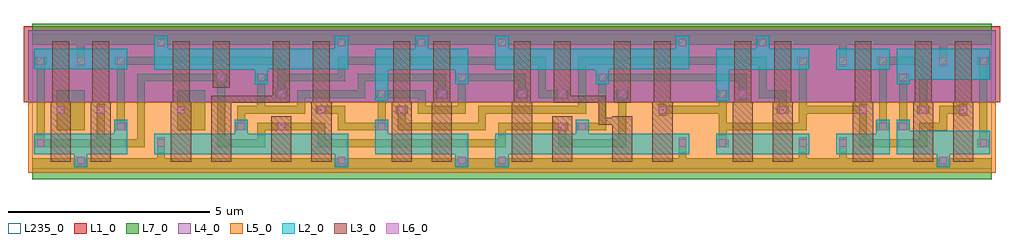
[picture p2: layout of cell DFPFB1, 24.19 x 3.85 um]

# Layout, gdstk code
import gdstk
lib = gdstk.Library(unit=1e-6, precision=1e-09)
def R(c, l, rs):  # rectangles x0, y0, x1, y1
    for r in rs: c.add(gdstk.rectangle(r[:2], r[2:], *l))
def A(c, l, x, y, w, h, nx, ny, dx, dy):  # array of equal rectangles
    R(c, l, [(x+i*dx, y+j*dy, x+i*dx+w, y+j*dy+h) for i in range(nx) for j in range(ny)])
def P(c, l, *ps):  # polygons
    for p in ps: c.add(gdstk.Polygon(p, *l))
L1_0 = (1, 0)
L2_0 = (2, 0)
L3_0 = (3, 0)
L4_0 = (4, 0)
L5_0 = (5, 0)
L6_0 = (6, 0)
L7_0 = (7, 0)
L235_0 = (235, 0)

dfpfb1 = lib.new_cell('DFPFB1')
R(dfpfb1, L1_0, [(-0.2,1.653,23.985,3.532)])
R(dfpfb1, L2_0, [(16.948,0.363,19.262,0.863), (19.93,2.449,21.25,2.969), (0.05,2.469,2.364,2.969)])
P(dfpfb1, L2_0, [(1.044,0.036),(1.044,0.363),(0.05,0.363),(0.05,0.863),(2.038,0.863),(2.038,1.209),(2.364,1.209),(2.364,0.363),(1.37,0.363),(1.37,0.036)],
  [(7.505,0.036),(7.505,0.363),(3.032,0.363),(3.032,0.863),(5.02,0.863),(5.02,1.209),(5.346,1.209),(5.346,0.863),(7.831,0.863),(7.831,0.036)],
  [(10.487,0.036),(10.487,0.363),(8.499,0.363),(8.499,1.209),(8.825,1.209),(8.825,0.863),(10.813,0.863),(10.813,0.036)],
  [(11.481,0.036),(11.481,0.863),(13.469,0.863),(13.469,1.209),(13.795,1.209),(13.795,0.863),(16.28,0.863),(16.28,0.363),(11.807,0.363),(11.807,0.036)],
  [(19.93,0.363),(19.93,0.863),(20.924,0.863),(20.924,1.209),(21.25,1.209),(21.25,0.363)],
  [(22.415,0.036),(22.415,0.363),(21.421,0.363),(21.421,1.209),(21.747,1.209),(21.747,0.943),(23.735,0.943),(23.735,0.363),(22.741,0.363),(22.741,0.036)],
  [(21.421,2.097),(21.421,2.969),(23.735,2.969),(23.735,2.209),(21.747,2.209),(21.747,2.097)],
  [(5.517,2.097),(5.517,2.449),(3.032,2.449),(3.032,3.296),(3.358,3.296),(3.358,2.969),(7.505,2.969),(7.505,3.296),(7.831,3.296),(7.831,2.469),(5.843,2.469),(5.843,2.097)],
  [(8.499,1.684),(8.499,2.969),(9.493,2.969),(9.493,3.296),(9.819,3.296),(9.819,2.969),(10.813,2.969),(10.813,2.097),(10.487,2.097),(10.487,2.449),(8.825,2.449),(8.825,1.684)],
  [(13.966,2.097),(13.966,2.449),(11.481,2.449),(11.481,3.296),(11.807,3.296),(11.807,2.969),(15.954,2.969),(15.954,3.296),(16.28,3.296),(16.28,2.469),(14.292,2.469),(14.292,2.097)],
  [(16.948,1.684),(16.948,2.969),(17.942,2.969),(17.942,3.296),(18.268,3.296),(18.268,2.969),(19.262,2.969),(19.262,2.449),(17.274,2.449),(17.274,1.684)])
R(dfpfb1, L3_0, [(5.927,0.177,6.427,1.296), (12.885,0.177,13.385,1.296), (14.416,1.637,14.836,3.155), (4.476,2.01,4.896,3.155)])
P(dfpfb1, L3_0, [(0.46,0.177),(0.46,1.653),(0.5,1.653),(0.5,3.155),(0.92,3.155),(0.92,1.653),(0.96,1.653),(0.96,0.177)],
  [(1.454,0.177),(1.454,1.653),(1.494,1.653),(1.494,3.155),(1.914,3.155),(1.914,1.653),(1.954,1.653),(1.954,0.177)],
  [(3.442,0.177),(3.442,1.653),(3.482,1.653),(3.482,3.155),(3.902,3.155),(3.902,1.653),(3.942,1.653),(3.942,0.177)],
  [(4.436,0.177),(4.436,1.809),(5.967,1.809),(5.967,3.155),(6.387,3.155),(6.387,1.629),(4.936,1.629),(4.936,0.177)],
  [(6.921,0.177),(6.921,1.653),(6.961,1.653),(6.961,3.155),(7.381,3.155),(7.381,1.653),(7.421,1.653),(7.421,0.177)],
  [(8.909,0.177),(8.909,1.653),(8.949,1.653),(8.949,3.155),(9.369,3.155),(9.369,1.653),(9.409,1.653),(9.409,0.177)],
  [(9.903,0.177),(9.903,1.653),(9.943,1.653),(9.943,3.155),(10.363,3.155),(10.363,1.653),(10.403,1.653),(10.403,0.177)],
  [(11.891,0.177),(11.891,1.653),(11.931,1.653),(11.931,3.155),(12.351,3.155),(12.351,1.653),(12.391,1.653),(12.391,0.177)],
  [(14.376,0.177),(14.376,1.084),(14.039,1.084),(14.039,1.629),(12.925,1.629),(12.925,3.155),(13.345,3.155),(13.345,1.809),(14.219,1.809),(14.219,1.264),(14.376,1.264),(14.376,1.296),(14.876,1.296),(14.876,0.177)],
  [(15.37,0.177),(15.37,1.653),(15.41,1.653),(15.41,3.155),(15.83,3.155),(15.83,1.653),(15.87,1.653),(15.87,0.177)],
  [(17.358,0.177),(17.358,1.653),(17.398,1.653),(17.398,3.155),(17.818,3.155),(17.818,1.653),(17.858,1.653),(17.858,0.177)],
  [(18.352,0.177),(18.352,1.653),(18.392,1.653),(18.392,3.155),(18.812,3.155),(18.812,1.653),(18.852,1.653),(18.852,0.177)],
  [(20.34,0.177),(20.34,1.653),(20.38,1.653),(20.38,3.155),(20.8,3.155),(20.8,1.653),(20.84,1.653),(20.84,0.177)],
  [(21.831,0.177),(21.831,1.653),(21.871,1.653),(21.871,3.155),(22.291,3.155),(22.291,1.653),(22.331,1.653),(22.331,0.177)],
  [(22.825,0.177),(22.825,1.653),(22.865,1.653),(22.865,3.155),(23.285,3.155),(23.285,1.653),(23.325,1.653),(23.325,0.177)])
R(dfpfb1, L4_0, [(-0.1,1.653,23.885,3.432)])
R(dfpfb1, L5_0, [(-0.1,-0.1,23.885,1.653)])
A(dfpfb1, L6_0, 0.12, 2.58, 0.186, 0.186, 3, 1, 0.994, 0)
A(dfpfb1, L6_0, 19.006, 2.58, 0.186, 0.186, 3, 1, 0.994, 0)
A(dfpfb1, L6_0, 7.575, 3.04, 0.186, 0.186, 3, 1, 1.988, 0)
R(dfpfb1, L6_0, [(1.114,0.106,1.3,0.292), (7.575,0.106,7.761,0.292), (10.557,0.106,10.743,0.292), (11.551,0.106,11.737,0.292), (22.485,0.106,22.671,0.292), (0.12,0.54,0.306,0.726), (3.102,0.54,3.288,0.726), (16.024,0.54,16.21,0.726), (17.018,0.54,17.204,0.726), (19.006,0.54,19.192,0.726), (20,0.54,20.186,0.726), (23.479,0.54,23.665,0.726), (2.108,0.953,2.294,1.139), (5.09,0.953,5.276,1.139), (6.084,0.953,6.27,1.139), (8.569,0.953,8.755,1.139), (13.042,0.953,13.228,1.139), (13.539,0.953,13.725,1.139), (20.994,0.953,21.18,1.139), (21.491,0.953,21.677,1.139), (0.617,1.366,0.803,1.552), (1.611,1.366,1.797,1.552), (3.599,1.366,3.785,1.552), (7.078,1.366,7.264,1.552), (9.066,1.366,9.252,1.552), (15.527,1.366,15.713,1.552), (18.509,1.366,18.695,1.552), (20.497,1.366,20.683,1.552), (21.988,1.366,22.174,1.552), (22.982,1.366,23.168,1.552), (6.084,1.754,6.27,1.94), (8.569,1.754,8.755,1.94), (10.06,1.754,10.246,1.94), (12.048,1.754,12.234,1.94), (13.042,1.754,13.228,1.94), (14.533,1.754,14.719,1.94), (17.018,1.754,17.204,1.94), (17.515,1.754,17.701,1.94), (4.593,2.167,4.779,2.353), (5.587,2.167,5.773,2.353), (10.557,2.167,10.743,2.353), (14.036,2.167,14.222,2.353), (21.491,2.167,21.677,2.353), (22.485,2.58,22.671,2.766), (23.479,2.58,23.665,2.766), (3.102,3.04,3.288,3.226), (16.024,3.04,16.21,3.226), (18.012,3.04,18.198,3.226)])
R(dfpfb1, L7_0, [(0.613,0.949,1.304,1.944), (3.595,0.949,4.286,1.944)])
P(dfpfb1, L7_0, [(0,-0.26),(0,0.26),(1.11,0.26),(1.11,0.296),(1.304,0.296),(1.304,0.26),(3.098,0.26),(3.098,0.776),(3.292,0.776),(3.292,0.26),(7.571,0.26),(7.571,0.296),(7.765,0.296),(7.765,0.26),(10.553,0.26),(10.553,0.296),(10.747,0.296),(10.747,0.26),(11.547,0.26),(11.547,0.296),(11.741,0.296),(11.741,0.26),(16.02,0.26),(16.02,0.776),(16.214,0.776),(16.214,0.26),(19.002,0.26),(19.002,0.776),(19.196,0.776),(19.196,0.26),(19.996,0.26),(19.996,0.776),(20.19,0.776),(20.19,0.26),(22.481,0.26),(22.481,0.296),(22.675,0.296),(22.675,0.26),(23.785,0.26),(23.785,-0.26)],
  [(5.036,0.949),(5.036,1.143),(5.086,1.143),(5.086,1.556),(5.583,1.556),(5.583,2.163),(5.533,2.163),(5.533,2.357),(5.827,2.357),(5.827,2.163),(5.777,2.163),(5.777,1.556),(6.577,1.556),(6.577,1.944),(8.068,1.944),(8.068,2.357),(10.25,2.357),(10.25,1.944),(10.3,1.944),(10.3,1.75),(10.006,1.75),(10.006,1.944),(10.056,1.944),(10.056,2.163),(8.262,2.163),(8.262,1.75),(6.771,1.75),(6.771,1.362),(5.28,1.362),(5.28,1.143),(5.33,1.143),(5.33,0.949)],
  [(7.571,0.949),(7.571,1.362),(7.024,1.362),(7.024,1.556),(7.765,1.556),(7.765,1.143),(8.565,1.143),(8.565,1.75),(8.515,1.75),(8.515,1.944),(9.753,1.944),(9.753,1.556),(10.553,1.556),(10.553,2.163),(10.503,2.163),(10.503,2.357),(12.238,2.357),(12.238,1.944),(12.288,1.944),(12.288,1.75),(11.994,1.75),(11.994,1.944),(12.044,1.944),(12.044,2.163),(10.747,2.163),(10.747,1.362),(9.559,1.362),(9.559,1.75),(8.759,1.75),(8.759,1.143),(8.809,1.143),(8.809,0.949)],
  [(13.485,0.949),(13.485,1.143),(14.032,1.143),(14.032,2.163),(13.982,2.163),(13.982,2.357),(17.705,2.357),(17.705,1.7),(17.511,1.7),(17.511,2.163),(14.226,2.163),(14.226,0.949)],
  [(21.437,0.949),(21.437,1.143),(21.487,1.143),(21.487,2.163),(21.437,2.163),(21.437,2.357),(21.731,2.357),(21.731,2.163),(21.681,2.163),(21.681,1.143),(21.731,1.143),(21.731,0.949)],
  [(0.066,0.536),(0.066,0.73),(0.116,0.73),(0.116,2.576),(0.066,2.576),(0.066,2.77),(0.36,2.77),(0.36,2.576),(0.31,2.576),(0.31,0.73),(1.607,0.73),(1.607,1.606),(1.801,1.606),(1.801,0.73),(2.601,0.73),(2.601,2.357),(4.833,2.357),(4.833,2.163),(4.783,2.163),(4.783,0.73),(5.583,0.73),(5.583,1.143),(7.268,1.143),(7.268,0.73),(11.547,0.73),(11.547,1.143),(13.282,1.143),(13.282,0.949),(13.232,0.949),(13.232,0.73),(14.529,0.73),(14.529,1.75),(14.479,1.75),(14.479,1.944),(14.773,1.944),(14.773,1.75),(14.723,1.75),(14.723,0.536),(13.038,0.536),(13.038,0.949),(11.741,0.949),(11.741,0.536),(7.074,0.536),(7.074,0.949),(5.777,0.949),(5.777,0.536),(4.589,0.536),(4.589,2.163),(2.795,2.163),(2.795,0.536)],
  [(2.054,0.949),(2.054,1.143),(2.104,1.143),(2.104,2.576),(2.054,2.576),(2.054,2.77),(6.274,2.77),(6.274,2.357),(7.571,2.357),(7.571,2.77),(12.735,2.77),(12.735,1.944),(13.282,1.944),(13.282,1.75),(12.541,1.75),(12.541,2.576),(7.765,2.576),(7.765,2.163),(6.274,2.163),(6.274,1.944),(6.324,1.944),(6.324,1.75),(6.03,1.75),(6.03,1.944),(6.08,1.944),(6.08,2.576),(2.298,2.576),(2.298,1.143),(2.348,1.143),(2.348,0.949)],
  [(9.062,0.949),(9.062,1.362),(9.012,1.362),(9.012,1.556),(9.306,1.556),(9.306,1.362),(9.256,1.362),(9.256,1.143),(11.05,1.143),(11.05,1.556),(13.535,1.556),(13.535,2.77),(18.202,2.77),(18.202,1.944),(18.699,1.944),(18.699,1.556),(18.749,1.556),(18.749,1.362),(18.455,1.362),(18.455,1.556),(18.505,1.556),(18.505,1.75),(18.008,1.75),(18.008,2.576),(13.729,2.576),(13.729,1.362),(11.244,1.362),(11.244,0.949)],
  [(16.964,0.536),(16.964,0.73),(17.014,0.73),(17.014,1.362),(15.717,1.362),(15.717,1.312),(15.523,1.312),(15.523,1.606),(15.717,1.606),(15.717,1.556),(17.014,1.556),(17.014,1.75),(16.964,1.75),(16.964,1.944),(17.258,1.944),(17.258,1.75),(17.208,1.75),(17.208,1.143),(19.002,1.143),(19.002,2.576),(18.952,2.576),(18.952,2.77),(19.246,2.77),(19.246,2.576),(19.196,2.576),(19.196,1.556),(20.493,1.556),(20.493,1.606),(20.687,1.606),(20.687,0.73),(21.984,0.73),(21.984,1.143),(22.481,1.143),(22.481,1.556),(22.978,1.556),(22.978,1.606),(23.172,1.606),(23.172,1.312),(22.978,1.312),(22.978,1.362),(22.675,1.362),(22.675,0.949),(22.178,0.949),(22.178,0.536),(20.493,0.536),(20.493,1.362),(19.196,1.362),(19.196,0.949),(17.208,0.949),(17.208,0.73),(17.258,0.73),(17.258,0.536)],
  [(20.94,0.949),(20.94,1.143),(20.99,1.143),(20.99,2.576),(20.94,2.576),(20.94,2.77),(22.178,2.77),(22.178,1.556),(22.228,1.556),(22.228,1.362),(21.934,1.362),(21.934,1.556),(21.984,1.556),(21.984,2.576),(21.184,2.576),(21.184,1.143),(21.234,1.143),(21.234,0.949)],
  [(23.425,0.536),(23.425,0.73),(23.475,0.73),(23.475,2.576),(23.425,2.576),(23.425,2.77),(23.719,2.77),(23.719,2.576),(23.669,2.576),(23.669,0.73),(23.719,0.73),(23.719,0.536)],
  [(1.11,2.53),(1.11,3.072),(0,3.072),(0,3.592),(23.785,3.592),(23.785,3.072),(22.675,3.072),(22.675,2.53),(22.481,2.53),(22.481,3.072),(20.19,3.072),(20.19,2.53),(19.996,2.53),(19.996,3.072),(18.202,3.072),(18.202,3.036),(18.008,3.036),(18.008,3.072),(16.214,3.072),(16.214,3.036),(16.02,3.036),(16.02,3.072),(11.741,3.072),(11.741,3.036),(11.547,3.036),(11.547,3.072),(9.753,3.072),(9.753,3.036),(9.559,3.036),(9.559,3.072),(7.765,3.072),(7.765,3.036),(7.571,3.036),(7.571,3.072),(3.292,3.072),(3.292,3.036),(3.098,3.036),(3.098,3.072),(1.304,3.072),(1.304,2.53)])
R(dfpfb1, L235_0, [(0,0,23.785,3.332)])

lib.write_gds('DFPFB1.gds')
